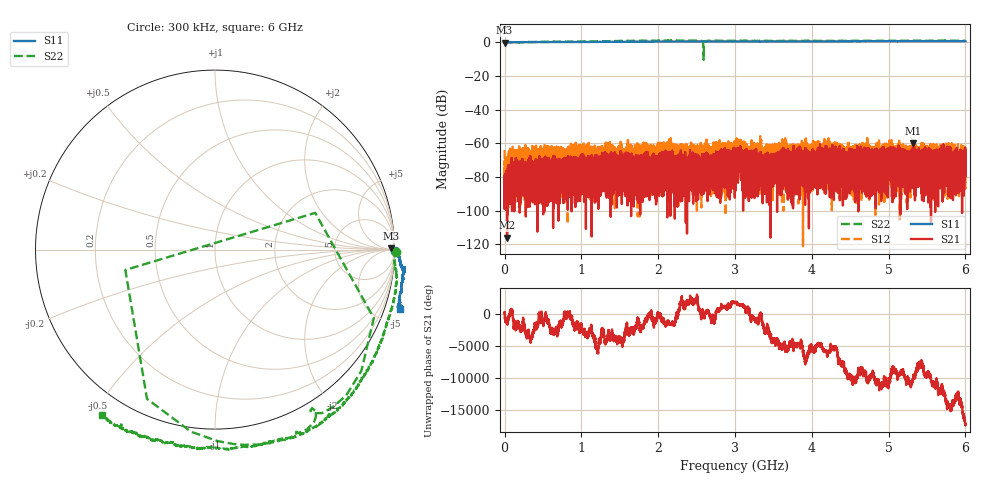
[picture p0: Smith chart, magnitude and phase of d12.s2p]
!Agilent Technologies,N5230C,SG49000117,A.08.50.07
!Agilent N5230C: A.08.50.07
!Date: Thursday, May 16, 2024 21:16:48
!Correction: S11(Full 2 Port(1,2))
!S21(Full 2 Port(1,2))
!S12(Full 2 Port(1,2))
!S22(Full 2 Port(1,2))
!S2P File: Measurements: S11, S21, S12, S22:
# Hz S  MA  R 50
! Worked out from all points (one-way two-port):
!   20001 points, 300 kHz to 6 GHz, reference 50 ohm
!   highest |S21| = -60.02 dB at 5.318 GHz (marker M1); lowest = -116.2 dB at 33.3 MHz (marker M2)
!   lowest |S11| = -0.2 dB at 600 kHz (marker M3), VSWR 110.78, Z = 4.72e+03 + j1.97e+03 ohm
!   |S11| at or under -10 dB: nowhere
!   |S22| runs from -10.3 to 1.1 dB; largest |S21 - S12| = 0.0017
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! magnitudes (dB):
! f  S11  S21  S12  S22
! 300 kHz  0.0  -80.9  -64.0  0.1
! 600 kHz  -0.2  -99.1  -67.0  -0.3
! 33.3 MHz  0.0  -116.2  -72.5  0.0
! 201 MHz  0.1  -78.8  -67.9  0.1
! 1 GHz  0.3  -72.2  -87.5  0.5
! 2 GHz  0.5  -67.4  -67.1  1.0
! 2.146 GHz  0.5  -67.1  -59.6  1.1
! 2.282 GHz  0.5  -76.0  -66.5  1.1
! 2.449 GHz  0.5  -67.6  -73.3  1.1
! 2.563 GHz  0.5  -84.0  -98.1  0.9
! 3 GHz  0.5  -66.4  -68.6  0.9
! 3.065 GHz  0.5  -65.3  -60.4  1.0
! 3.381 GHz  0.5  -75.5  -71.6  0.9
! 3.631 GHz  0.5  -68.4  -62.0  0.9
! 3.712 GHz  0.5  -68.6  -68.6  0.9
! 4 GHz  0.5  -86.4  -73.4  0.9
! 4.193 GHz  0.6  -73.3  -65.3  0.9
! 4.432 GHz  0.7  -77.7  -65.6  0.9
! 5 GHz  0.7  -77.2  -66.9  1.0
! 5.318 GHz  0.7  -60.0  -68.1  1.0
! 5.89 GHz  0.7  -78.5  -67.2  1.0
! 6 GHz  0.7  -67.7  -75.0  0.9
